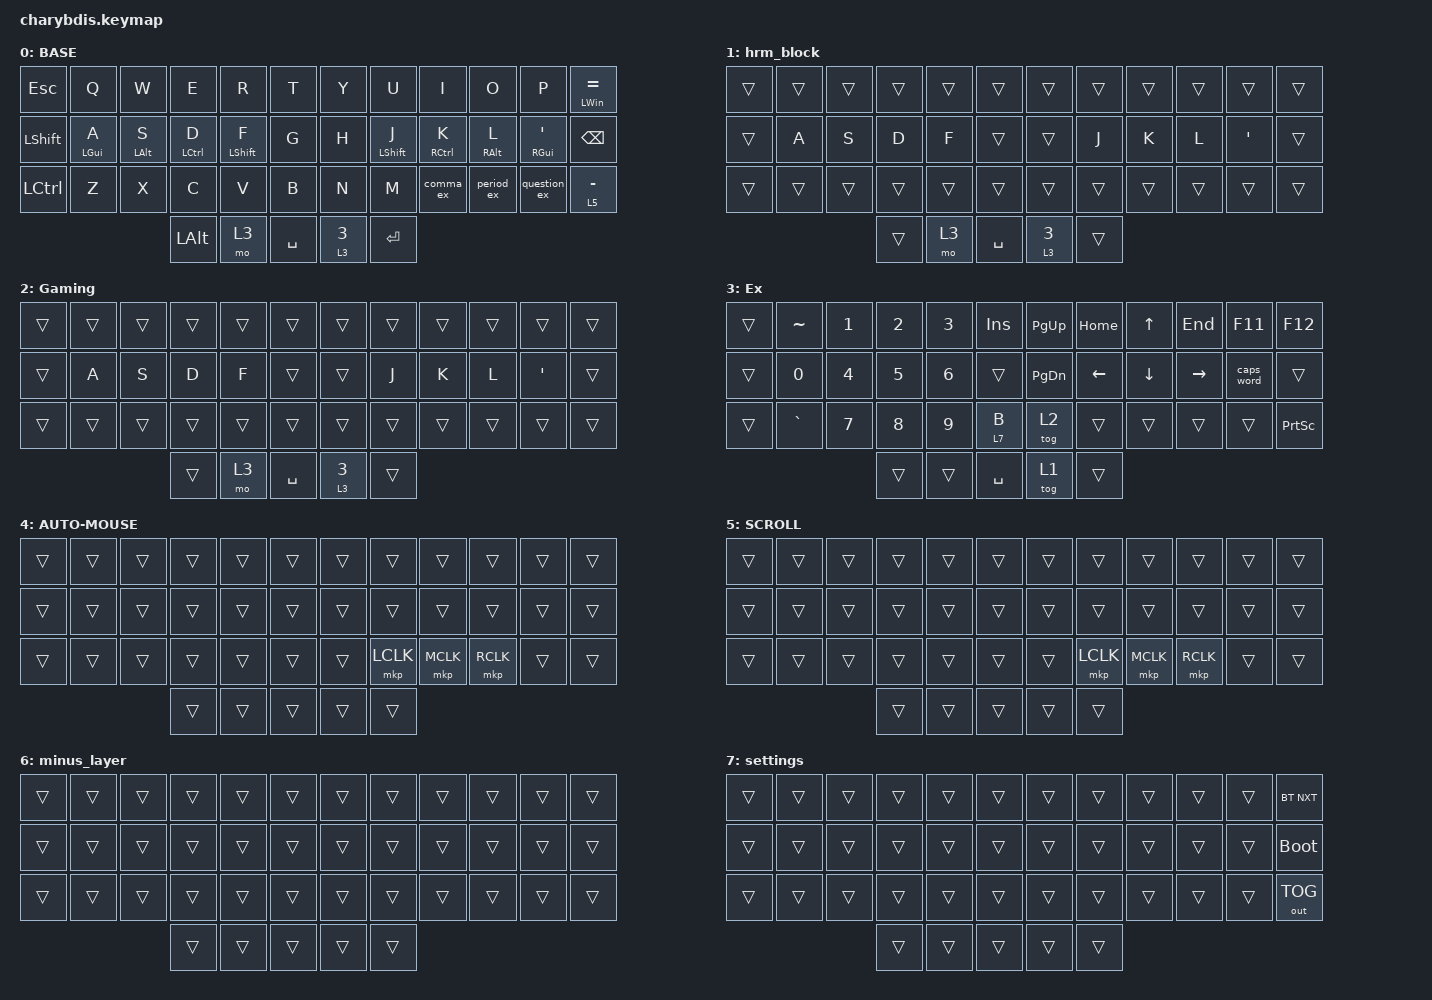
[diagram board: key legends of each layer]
#include <behaviors/mouse_keys.dtsi>
#include <behaviors.dtsi>
#include <dt-bindings/zmk/bt.h>
#include <dt-bindings/zmk/keys.h>
#include <dt-bindings/zmk/mouse.h>
#include <dt-bindings/zmk/outputs.h>

#define U_TAPPING_TERM 200

/ {
    chosen { zmk,matrix_transform = &default_transform; };
};

/ {
    combos {
        compatible = "zmk,combos";

        Delete {
            bindings = <&kp DELETE>;
            key-positions = <22 23>;
            require-prior-idle-ms = <100>;
        };

        R_Bracket {
            bindings = <&right_bracket>;
            key-positions = <15 16>;
            require-prior-idle-ms = <100>;
            layers = <0 3 1>;
        };

        L_Bracket {
            bindings = <&left_bracket>;
            key-positions = <15 14>;
            require-prior-idle-ms = <100>;
            layers = <0 3 1>;
        };

        R_Par {
            bindings = <&right_parenthesis>;
            key-positions = <20 21>;
            require-prior-idle-ms = <100>;
            layers = <0 3 1>;
        };

        L_Par {
            bindings = <&left_parenthesis>;
            key-positions = <20 19>;
            require-prior-idle-ms = <100>;
            layers = <0 3 1>;
        };

        combo_slash {
            bindings = <&kp SLASH>;
            key-positions = <14 3>;
            require-prior-idle-ms = <100>;
            layers = <0 3 1>;
        };

        combo_backslash {
            bindings = <&kp BACKSLASH>;
            key-positions = <21 8>;
            require-prior-idle-ms = <100>;
            layers = <0 3 1>;
        };

        combo_ctrlv {
            bindings = <&kp LC(V)>;
            key-positions = <28 27>;
            require-prior-idle-ms = <100>;
            layers = <0>;
        };

        combo_ctrlc {
            bindings = <&kp LC(C)>;
            key-positions = <27 26>;
            require-prior-idle-ms = <100>;
            layers = <0>;
        };

        combo_esc {
            bindings = <&kp TAB>;
            key-positions = <2 3>;
            require-prior-idle-ms = <200>;
        };

        combo_F1 {
            bindings = <&kp F1>;
            key-positions = <1 13>;
            layers = <0 1 3>;
            require-prior-idle-ms = <200>;
        };

        combo_F2 {
            bindings = <&kp F2>;
            key-positions = <14 2>;
            require-prior-idle-ms = <200>;
            layers = <0 1 3>;
        };

        combo_F3 {
            bindings = <&kp F3>;
            key-positions = <15 3>;
            require-prior-idle-ms = <200>;
            layers = <0 1 3>;
        };

        combo_F4 {
            bindings = <&kp F4>;
            key-positions = <16 4>;
            require-prior-idle-ms = <200>;
            layers = <0 1 3>;
        };

        combo_F5 {
            bindings = <&kp F5>;
            key-positions = <17 5>;
            require-prior-idle-ms = <200>;
            layers = <0 1 3>;
        };

        combo_F6 {
            bindings = <&kp F6>;
            key-positions = <6 18>;
            require-prior-idle-ms = <200>;
            layers = <0 1 3>;
        };

        combo_F7 {
            bindings = <&kp F7>;
            key-positions = <19 7>;
            require-prior-idle-ms = <200>;
            layers = <0 1 3>;
        };

        combo_F8 {
            bindings = <&kp F8>;
            key-positions = <20 8>;
            require-prior-idle-ms = <200>;
            layers = <0 1 3>;
        };

        combo_F9 {
            bindings = <&kp F9>;
            key-positions = <21 9>;
            require-prior-idle-ms = <200>;
            layers = <0 1 3>;
        };

        combo_F10 {
            bindings = <&kp F10>;
            key-positions = <10 22>;
            require-prior-idle-ms = <200>;
            layers = <0 1 3>;
        };
    };

    behaviors {
        u_mt: u_mt {
            compatible = "zmk,behavior-hold-tap";
            label = "u_mt";
            #binding-cells = <2>;
            tapping_term_ms = <U_TAPPING_TERM>;
            flavor = "tap-preferred";
            bindings = <&kp>, <&kp>;
        };

        u_lt: u_lt {
            compatible = "zmk,behavior-hold-tap";
            label = "u_lt";
            #binding-cells = <2>;
            tapping_term_ms = <U_TAPPING_TERM>;
            flavor = "tap-preferred";
            bindings = <&mo>, <&kp>;
        };

        Shift_Enter: Shift_Enter {
            compatible = "zmk,behavior-hold-tap";
            label = "SHIFT_ENTER";
            bindings = <&kp>, <&kp>;

            #binding-cells = <2>;
            hold-trigger-key-positions = <40>;
            tapping-term-ms = <100>;
        };

        hrm_left: hrm_left {
            compatible = "zmk,behavior-hold-tap";
            label = "HRM_LEFT";
            bindings = <&kp>, <&kp>;

            #binding-cells = <2>;
            tapping-term-ms = <280>;
            require-prior-idle-ms = <130>;
            flavor = "balanced";
            hold-trigger-on-release;
            hold-trigger-key-positions = <6 7 8 9 10 11 18 19 20 21 22 23 30 31 32 33 34 35 40 39>;
        };

        hrm_right: hrm_right {
            compatible = "zmk,behavior-hold-tap";
            label = "HRM_RIGHT";
            bindings = <&kp>, <&kp>;

            #binding-cells = <2>;
            tapping-term-ms = <280>;
            require-prior-idle-ms = <130>;
            flavor = "balanced";
            hold-trigger-on-release;
            hold-trigger-key-positions = <0 1 2 3 4 5 12 13 14 15 16 17 24 25 26 27 28 29 36 37 38>;
        };

        period_ex: period_ex {
            compatible = "zmk,behavior-mod-morph";
            label = "PERIOD_EX";
            bindings = <&kp PERIOD>, <&kp COLON>;

            #binding-cells = <0>;
            mods = <(MOD_LSFT|MOD_RSFT)>;
        };

        right_parenthesis: right_parenthesis {
            compatible = "zmk,behavior-mod-morph";
            label = "RIGHT_PARENTHESIS";
            bindings = <&kp RIGHT_PARENTHESIS>, <&kp GREATER_THAN>;

            #binding-cells = <0>;
            mods = <(MOD_LSFT|MOD_RSFT)>;
        };

        comma_ex: comma_ex {
            compatible = "zmk,behavior-mod-morph";
            label = "COMMA_EX";
            bindings = <&kp COMMA>, <&kp SEMICOLON>;

            #binding-cells = <0>;
            mods = <(MOD_LSFT|MOD_RSFT|MOD_LALT|MOD_RALT)>;
        };

        left_parenthesis: left_parenthesis {
            compatible = "zmk,behavior-mod-morph";
            label = "LEFT_PARENTHESIS";
            bindings = <&kp LEFT_PARENTHESIS>, <&kp LESS_THAN>;

            #binding-cells = <0>;
            mods = <(MOD_LSFT|MOD_RSFT)>;
        };

        question_ex: question_ex {
            compatible = "zmk,behavior-mod-morph";
            label = "QUESTION_EX";
            bindings = <&kp QUESTION>, <&kp EXCLAMATION>;

            #binding-cells = <0>;
            mods = <(MOD_LSFT|MOD_RSFT)>;
        };

        left_bracket: left_bracket {
            compatible = "zmk,behavior-mod-morph";
            label = "LEFT_BRACKET";
            bindings = <&kp LEFT_BRACKET>, <&kp LEFT_BRACE>;

            #binding-cells = <0>;
            mods = <(MOD_LSFT|MOD_RSFT)>;
        };

        right_bracket: right_bracket {
            compatible = "zmk,behavior-mod-morph";
            label = "RIGHT_BRACKET";
            bindings = <&kp RIGHT_BRACKET>, <&kp RIGHT_BRACE>;

            #binding-cells = <0>;
            mods = <(MOD_LSFT|MOD_RSFT)>;
        };

        sticky_layer_ex: sticky_layer_ex {
            compatible = "zmk,behavior-sticky-key";
            label = "STICKY_LAYER_EX";
            bindings = <&mo>;
            #binding-cells = <1>;
            release-after-ms = <1500>;
            quick-release;
            ignore-modifiers;
        };

        custom_hold_tap_stickylayer: custom_hold_tap_stickylayer {
            compatible = "zmk,behavior-hold-tap";
            label = "CUSTOM_HOLD_TAP_STICKYLAYER";
            bindings = <&mo>, <&sticky_layer_ex>;

            #binding-cells = <2>;
            tapping-term-ms = <200>;
            hold-while-undecided-linger;
        };

        custom_hold_tap_space: custom_hold_tap_space {
            compatible = "zmk,behavior-hold-tap";
            label = "CUSTOM_HOLD_TAP_SPACE";
            bindings = <&mo>, <&kp>;

            #binding-cells = <2>;
            tapping-term-ms = <200>;
            quick-tap-ms = <200>;
            retro-tap;
        };

        sticky_key_custom_alt: sticky_key_custom_alt {
            compatible = "zmk,behavior-sticky-key";
            label = "STICKY_KEY_CUSTOM_ALT";
            bindings = <&kp>;
            #binding-cells = <1>;
            release-after-ms = <1500>;
            quick-release;
            ignore-modifiers;
        };
    };

    keymap {
        compatible = "zmk,keymap";

        BASE {
            bindings = <
&kp ESCAPE      &kp Q                 &kp W                 &kp E              &kp R                   &kp T        &kp Y                             &kp U                    &kp I               &kp O                   &kp P                            &mt LEFT_WIN EQUAL
&kp LEFT_SHIFT  &hrm_left LEFT_GUI A  &hrm_left LEFT_ALT S  &hrm_left LCTRL D  &hrm_left LEFT_SHIFT F  &kp G        &kp H                             &hrm_right LEFT_SHIFT J  &hrm_right RCTRL K  &hrm_right RIGHT_ALT L  &hrm_right RIGHT_GUI APOSTROPHE  &kp BACKSPACE
&kp LCTRL       &kp Z                 &kp X                 &kp C              &kp V                   &kp B        &kp N                             &kp M                    &comma_ex           &period_ex              &question_ex                     &lt 5 MINUS
                                                            &kp LEFT_ALT       &mo 3                   &kp SPACE    &custom_hold_tap_stickylayer 3 3  &kp RET
            >;
        };

        hrm_block {
            bindings = <
&trans  &trans  &trans  &trans  &trans  &trans       &trans                            &trans  &trans  &trans  &trans   &trans
&trans  &kp A   &kp S   &kp D   &kp F   &trans       &trans                            &kp J   &kp K   &kp L   &kp SQT  &trans
&trans  &trans  &trans  &trans  &trans  &trans       &trans                            &trans  &trans  &trans  &trans   &trans
                        &trans  &mo 3   &kp SPACE    &custom_hold_tap_stickylayer 3 3  &trans
            >;
        };

        Gaming {
            bindings = <
&trans  &trans  &trans  &trans  &trans  &trans       &trans                            &trans  &trans  &trans  &trans   &trans
&trans  &kp A   &kp S   &kp D   &kp F   &trans       &trans                            &kp J   &kp K   &kp L   &kp SQT  &trans
&trans  &trans  &trans  &trans  &trans  &trans       &trans                            &trans  &trans  &trans  &trans   &trans
                        &trans  &mo 3   &kp SPACE    &custom_hold_tap_stickylayer 3 3  &trans
            >;
        };

        Ex {
            bindings = <
&trans  &kp TILDE  &kp NUMBER_1  &kp NUMBER_2  &kp NUMBER_3  &kp INSERT    &kp PAGE_UP    &kp HOME  &kp UP    &kp END    &kp F11     &kp F12
&trans  &kp N0     &kp NUMBER_4  &kp N5        &kp NUMBER_6  &trans        &kp PAGE_DOWN  &kp LEFT  &kp DOWN  &kp RIGHT  &caps_word  &trans
&trans  &kp GRAVE  &kp N7        &kp N8        &kp N9        &lt 7 B       &tog 2         &trans    &trans    &trans     &trans      &kp PRINTSCREEN
                                 &trans        &trans        &kp SPACE     &tog 1         &trans
            >;
        };

        AUTO-MOUSE {
            bindings = <
&trans  &trans  &trans  &trans  &trans  &trans    &trans  &trans     &trans     &trans     &trans  &trans
&trans  &trans  &trans  &trans  &trans  &trans    &trans  &trans     &trans     &trans     &trans  &trans
&trans  &trans  &trans  &trans  &trans  &trans    &trans  &mkp LCLK  &mkp MCLK  &mkp RCLK  &trans  &trans
                        &trans  &trans  &trans    &trans  &trans
            >;
        };

        SCROLL {
            bindings = <
&trans  &trans  &trans  &trans  &trans  &trans    &trans  &trans     &trans     &trans     &trans  &trans
&trans  &trans  &trans  &trans  &trans  &trans    &trans  &trans     &trans     &trans     &trans  &trans
&trans  &trans  &trans  &trans  &trans  &trans    &trans  &mkp LCLK  &mkp MCLK  &mkp RCLK  &trans  &trans
                        &trans  &trans  &trans    &trans  &trans
            >;
        };

        minus_layer {
            bindings = <
&trans  &trans  &trans  &trans  &trans  &trans    &trans  &trans  &trans  &trans  &trans  &trans
&trans  &trans  &trans  &trans  &trans  &trans    &trans  &trans  &trans  &trans  &trans  &trans
&trans  &trans  &trans  &trans  &trans  &trans    &trans  &trans  &trans  &trans  &trans  &trans
                        &trans  &trans  &trans    &trans  &trans
            >;
        };

        settings {
            bindings = <
&trans  &trans  &trans  &trans  &trans  &trans    &trans  &trans  &trans  &trans  &trans  &bt BT_NXT
&trans  &trans  &trans  &trans  &trans  &trans    &trans  &trans  &trans  &trans  &trans  &bootloader
&trans  &trans  &trans  &trans  &trans  &trans    &trans  &trans  &trans  &trans  &trans  &out OUT_TOG
                        &trans  &trans  &trans    &trans  &trans
            >;
        };
    };
};
